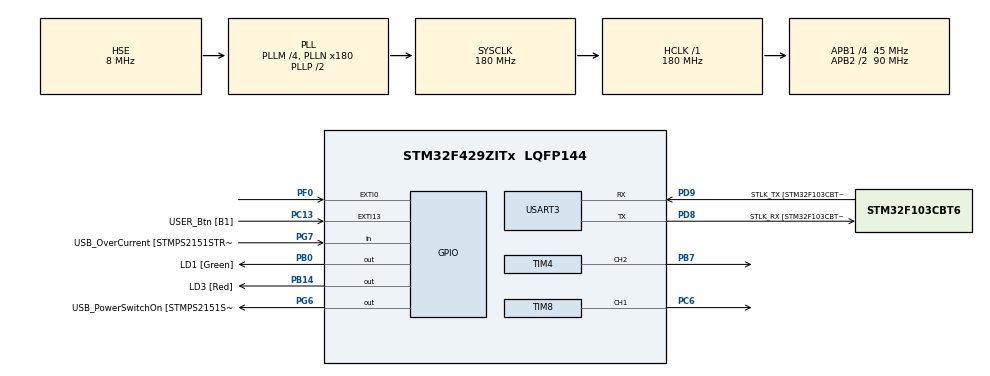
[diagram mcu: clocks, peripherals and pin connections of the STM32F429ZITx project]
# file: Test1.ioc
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Mcu.Family=STM32F4
Mcu.Name=STM32F429ZITx
Mcu.Package=LQFP144
NVIC.EXTI0_IRQn=true\:3\:0\:true\:false\:true\:true\:true
NVIC.PriorityGroup=NVIC_PRIORITYGROUP_4
NVIC.TIM8_CC_IRQn=true\:2\:0\:true\:false\:true\:true\:true
NVIC.TIM8_UP_TIM13_IRQn=true\:1\:0\:true\:false\:true\:true\:true
PA13.GPIO_Label=TMS
PA13.Mode=Serial_Wire
PA13.Signal=SYS_JTMS-SWDIO
PA14.GPIO_Label=TCK
PA14.Mode=Serial_Wire
PA14.Signal=SYS_JTCK-SWCLK
PB0.GPIO_Label=LD1 [Green]
PB0.Signal=GPIO_Output
PB14.GPIO_Label=LD3 [Red]
PB14.Signal=GPIO_Output
PB7.Signal=S_TIM4_CH2
PC13.GPIO_Label=USER_Btn [B1]
PC13.Signal=GPXTI13
PC6.Signal=S_TIM8_CH1
PD8.GPIO_Label=STLK_RX [STM32F103CBT6_PA3]
PD8.Mode=Asynchronous
PD8.Signal=USART3_TX
PD9.GPIO_Label=STLK_TX [STM32F103CBT6_PA2]
PD9.Mode=Asynchronous
PD9.Signal=USART3_RX
PF0.GPIO_ModeDefaultEXTI=GPIO_MODE_IT_RISING_FALLING
PF0.Signal=GPXTI0
PG6.GPIO_Label=USB_PowerSwitchOn [STMPS2151STR_EN]
PG6.Signal=GPIO_Output
PG7.GPIO_Label=USB_OverCurrent [STMPS2151STR_FAULT]
PG7.Signal=GPIO_Input
PH0/OSC_IN.GPIO_Label=MCO [STM32F103CBT6_PA8]
PH0/OSC_IN.Mode=HSE-External-Clock-Source
PH0/OSC_IN.Signal=RCC_OSC_IN
PH1/OSC_OUT.Mode=HSE-External-Clock-Source
PH1/OSC_OUT.Signal=RCC_OSC_OUT
ProjectManager.HeapSize=0x200
ProjectManager.StackSize=0x400
ProjectManager.TargetToolchain=Makefile
RCC.48MHZClocksFreq_Value=90000000
RCC.AHBFreq_Value=180000000
RCC.APB1CLKDivider=RCC_HCLK_DIV4
RCC.APB1Freq_Value=45000000
RCC.APB1TimFreq_Value=90000000
RCC.APB2CLKDivider=RCC_HCLK_DIV2
RCC.APB2Freq_Value=90000000
RCC.APB2TimFreq_Value=180000000
RCC.CortexFreq_Value=180000000
RCC.HCLKFreq_Value=180000000
RCC.HSE_VALUE=8000000
RCC.HSI_VALUE=16000000
RCC.LSE_VALUE=32768
RCC.PLLM=4
RCC.PLLMUL=RCC_PLL_MUL9
RCC.PLLN=180
RCC.PLLSourceVirtual=RCC_PLLSOURCE_HSE
RCC.PRESCALERUSB=RCC_USBCLKSOURCE_PLL_DIV1_5
RCC.RCC_MCO1Source=RCC_MCO1SOURCE_HSE
RCC.RCC_MCODiv1=RCC_MCODIV_4
RCC.SYSCLKFreq_VALUE=180000000
RCC.SYSCLKSource=RCC_SYSCLKSOURCE_PLLCLK
RCC.SYSCLKSourceVirtual=RCC_SYSCLKSOURCE_PLLCLK
RCC.USBFreq_Value=48000000
RCC.VCOOutputFreq_Value=360000000
SH.S_TIM4_CH2.0=TIM4_CH2,PWM Generation2 CH2
SH.S_TIM8_CH1.0=TIM8_CH1,Output Compare1 CH1
TIM1.Period=179
TIM1.TIM_MasterOutputTrigger=TIM_TRGO_UPDATE
TIM1.TIM_MasterSlaveMode=TIM_MASTERSLAVEMODE_ENABLE
TIM4.Channel-PWM\ Generation2\ CH2=TIM_CHANNEL_2
TIM4.OCPolarity_2=TIM_OCPOLARITY_HIGH
TIM4.Period=9999
TIM4.Prescaler=8999
TIM4.Pulse-PWM\ Generation2\ CH2=2000
TIM8.Channel-Output\ Compare1\ CH1=TIM_CHANNEL_1
TIM8.OCMode_1=TIM_OCMODE_ACTIVE
TIM8.Period=9999
TIM8.Pulse-Output\ Compare1\ CH1=16383
TIM8.TIM_MasterSlaveMode=TIM_MASTERSLAVEMODE_ENABLE
USART3.VirtualMode=VM_ASYNC
VP_TIM1_VS_ClockSourceINT.Mode=Internal
VP_TIM8_VS_ClockSourceITR.Mode=TriggerSource_ITR0
VP_TIM8_VS_ControllerModeClock.Mode=Clock Mode
board=NUCLEO-F429ZI

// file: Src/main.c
/* USER CODE BEGIN Header */
/**
  ******************************************************************************
  * @file           : main.c
  * @brief          : Main program body
  ******************************************************************************
  * @attention
  *
  * <h2><center>&copy; Copyright (c) 2019 STMicroelectronics.
  * All rights reserved.</center></h2>
  *
  * This software component is licensed by ST under BSD 3-Clause license,
  * the "License"; You may not use this file except in compliance with the
  * License. You may obtain a copy of the License at:
  *                        opensource.org/licenses/BSD-3-Clause
  *
  ******************************************************************************
  */
/* USER CODE END Header */

#include "main.h"

/* USER CODE BEGIN Includes */

#include <stdio.h>
#include <stdbool.h>
#include <inttypes.h>
#include <stm32f4xx_ll_tim.h>
#include <stdlib.h>
#include <math.h>

/* USER CODE END Includes */

TIM_HandleTypeDef htim1;
TIM_HandleTypeDef htim4;
TIM_HandleTypeDef htim8;

UART_HandleTypeDef huart3;

void SystemClock_Config(void);
static void MX_GPIO_Init(void);
static void MX_USART3_UART_Init(void);
static void MX_GFXSIMULATOR_Init(void);
static void MX_TIM4_Init(void);
static void MX_TIM1_Init(void);
static void MX_TIM8_Init(void);

/* USER CODE BEGIN 0 */

//int fputc(int ch, FILE *f) {
int _write(int iFileHandle, char *pcBuffer, int iLength)
{
    HAL_UART_Transmit(&huart3, (uint8_t *)pcBuffer, iLength, 0xFFFF);
    return 0;
}

volatile uint64_t timer_high = 0;

volatile uint8_t tenMillisecondCycle = 0;
volatile int32_t biasBaseValue = 0;
volatile uint8_t biasTenths = 0;
volatile uint8_t biasHundredths = 0;

volatile uint32_t overflowInterruptTime = 0;
volatile uint32_t adjustInterruptTime = 0;
volatile uint32_t extiInterruptTime = 0;

void HAL_TIM_PeriodElapsedCallback(TIM_HandleTypeDef *htim)
{
  uint32_t startTime = DWT->CYCCNT;
  if (htim == &htim8) {
    timer_high += 10000;
    htim1.Instance->ARR = 179;
    tenMillisecondCycle = (tenMillisecondCycle + 1) % 100;

    int32_t adjustment = biasBaseValue;
    if (tenMillisecondCycle%10 < biasTenths)
        adjustment++;
    if (tenMillisecondCycle%10==9 && (tenMillisecondCycle/10) < biasHundredths)
        adjustment++;
    if (adjustment == 0) {
        htim8.Instance->CCR1 = 0xffff;
    } else {
        htim8.Instance->CCR1 = 9999-abs(adjustment);
    }

    //if (timer_high % 500000 == 0) {
    //    HAL_GPIO_TogglePin(GPIOB, LD1_Pin);
    //}
  }
  overflowInterruptTime = DWT->CYCCNT-startTime;
}

void HAL_TIM_OC_DelayElapsedCallback(TIM_HandleTypeDef *htim)
{
  uint32_t startTime = DWT->CYCCNT;
  if (htim == &htim8) {
    if (biasBaseValue < 0) {
      htim1.Instance->ARR = 178;
    } else {
      htim1.Instance->ARR = 180;
    }
  }
  adjustInterruptTime = DWT->CYCCNT-startTime;
}

uint64_t readTimeMicros() {
    uint64_t high1;
    uint64_t high2;
    uint32_t low;
    do {
        high1 = timer_high;
        low = LL_TIM_GetCounter(htim8.Instance);
        high2 = timer_high;
    } while (high1 != high2);
    uint64_t timeMicros = high1+low;
    return timeMicros;
}

volatile uint64_t recentPpsRisingEdgeTime = 0;

void HAL_GPIO_EXTI_Callback(uint16_t GPIO_Pin) {
    uint32_t startTime = DWT->CYCCNT;
    GPIO_PinState read = HAL_GPIO_ReadPin(GPIOF, GPIO_PIN_0);
    HAL_GPIO_WritePin(GPIOB, LD1_Pin, read);

    if (read == GPIO_PIN_SET) {
        recentPpsRisingEdgeTime = readTimeMicros();
    }
    extiInterruptTime = DWT->CYCCNT-startTime;
}

int32_t setBiasPpb(int32_t partsPerBillion)
{
  if (partsPerBillion > 500000) {
    partsPerBillion = 500000;
  } else if (partsPerBillion < -500000) {
    partsPerBillion = -500000;
  }

   int32_t cyclesPerSecond = (180*partsPerBillion)/1000;
   biasBaseValue = cyclesPerSecond/100;
   int32_t remainder = cyclesPerSecond-(100*biasBaseValue);
   if (remainder < 0) {
     biasBaseValue -= 1;
     remainder += 100;
   }
   biasTenths = remainder / 10;
   biasHundredths = remainder % 10;

   return (cyclesPerSecond*1000)/180;
}

int64_t lastErrorMicros = INT64_MAX;
int64_t errorIntegral = 0;
const double proportionalGain = 35.80;
const double integralGain = 0.300;
const double derivativeGain = 0.511;

void updateClockPID(uint64_t trueTimeMicros, uint64_t measuredTimeMicros) {
    int64_t errorMicros = measuredTimeMicros-trueTimeMicros;
    if (lastErrorMicros != INT64_MAX) {
        long derivativeTerm = errorMicros-lastErrorMicros;
        errorIntegral += errorMicros;

        double p = proportionalGain*errorMicros;
        double i = integralGain*errorIntegral;
        double d = derivativeGain*derivativeTerm;
        double pid = p+i+d;

        int32_t biasPpb = round(pid);
        setBiasPpb(biasPpb);

        printf("PID,%"PRId32",%f,%f,%f,%"PRId32"\r\n",
                (int32_t)errorMicros, p, i, d, biasPpb);
    }

    lastErrorMicros = errorMicros;
}

int32_t detectMissedPpsPulse(uint64_t ppsTimeMicros, uint64_t xtalTimeMicros) {
    int64_t offset = xtalTimeMicros-ppsTimeMicros;
    int32_t adjustment;
    if (offset > 500000) {
        // ppsTime is too low - return cycles to add.
        adjustment = (offset+500000)/1000000;
        printf("PPS pulse(s) missed? %"PRIu32",%06"PRIu32" vs %"PRIu32",%06"PRIu32" correcting by %"PRId32"s\r\n",
                (uint32_t)(ppsTimeMicros/1000000),
                (uint32_t)(ppsTimeMicros%1000000),
		(uint32_t)(xtalTimeMicros/1000000),
                (uint32_t)(xtalTimeMicros%1000000),
                adjustment);
    } else if (offset < -500000) {
        // ppsTime is too high?!
        adjustment = (offset-500000)/1000000;
        printf("PPS pulse early? %"PRIu32",%06"PRIu32" vs %"PRIu32",%06"PRIu32", correcting by %"PRId32"s\r\n",
                (uint32_t)(ppsTimeMicros/1000000),
                (uint32_t)(ppsTimeMicros%1000000),
		(uint32_t)(xtalTimeMicros/1000000),
                (uint32_t)(xtalTimeMicros%1000000),
                adjustment);
    } else {
        adjustment = 0;
    }
    return adjustment;
}

bool measurementLooksAcceptable(uint64_t lastPpsTimeMicros, uint64_t thisPpsTimeMicros) {
    if (lastPpsTimeMicros == 0)
        return true;

    int64_t fromPrevMicros = thisPpsTimeMicros-lastPpsTimeMicros;
    int64_t errorIgnoringSkippedCycles = ((fromPrevMicros+500000)%1000000)-500000;

    bool acceptable = (errorIgnoringSkippedCycles >= -10000) && (errorIgnoringSkippedCycles <= 10000);
    if (!acceptable) {
        printf("Rejecting measurement of %"PRIu32",%06"PRIu32"\r\n",
                (uint32_t)(thisPpsTimeMicros/1000000),
                (uint32_t)(thisPpsTimeMicros%1000000));
    }
    return acceptable;
}

/* USER CODE END 0 */

int main(void)
{

  /* MCU Configuration--------------------------------------------------------*/

  /* Reset of all peripherals, Initializes the Flash interface and the Systick. */
  HAL_Init();

  /* Configure the system clock */
  SystemClock_Config();

  /* Initialize all configured peripherals */
  MX_GPIO_Init();
  MX_USART3_UART_Init();
  MX_GFXSIMULATOR_Init();
  MX_TIM4_Init();
  MX_TIM1_Init();
  MX_TIM8_Init();
  /* USER CODE BEGIN 2 */

  CoreDebug->DEMCR |= CoreDebug_DEMCR_TRCENA_Msk;
  DWT->CYCCNT = 0;
  DWT->CTRL |= DWT_CTRL_CYCCNTENA_Msk;

  DBGMCU->APB1FZ |= (DBGMCU_APB1_FZ_DBG_TIM3_STOP);
  DBGMCU->APB2FZ |= (DBGMCU_APB2_FZ_DBG_TIM1_STOP | DBGMCU_APB2_FZ_DBG_TIM9_STOP | DBGMCU_APB2_FZ_DBG_TIM10_STOP);

  while (HAL_GPIO_ReadPin(GPIOF, GPIO_PIN_0) != GPIO_PIN_RESET) {}
  while (HAL_GPIO_ReadPin(GPIOF, GPIO_PIN_0) != GPIO_PIN_SET) {}

  HAL_TIM_Base_Start(&htim1);
  HAL_TIM_Base_Start_IT(&htim8);
  HAL_TIM_OC_Start_IT(&htim8, TIM_CHANNEL_1);
  //HAL_TIM_Base_Start(&htim9);
  HAL_TIM_Base_Start(&htim4);
  HAL_TIM_PWM_Start(&htim4, TIM_CHANNEL_2);

  HAL_GPIO_TogglePin(GPIOB, LD1_Pin);

  //setBiasPpb(-13139);

  uint64_t nextToggleMicros = 0;
  bool expectOverflow = false;
  uint64_t prevPpsRisingEdge = 0;
  uint64_t prevAcceptedPpsRisingEdge = 0;
  int32_t ppsCount = 0;

  /* USER CODE END 2 */

  /* Infinite loop */
  while (1)
  {

    /* USER CODE BEGIN 3 */
    uint64_t timeMicros = readTimeMicros();

    if (expectOverflow && timeMicros < nextToggleMicros)
        expectOverflow = false;

    if (!expectOverflow && (timeMicros >= nextToggleMicros)) {
        //HAL_GPIO_TogglePin(GPIOB, LD1_Pin);
        //HAL_GPIO_TogglePin(GPIOB, LD2_Pin);
        HAL_GPIO_TogglePin(GPIOB, LD3_Pin);

        //printf("Tick! %"PRIu32"\r\n", (uint32_t)timeMicros);
        nextToggleMicros += 500000;
        if (nextToggleMicros < timeMicros)
            expectOverflow = true;
    }

    uint64_t ppsRisingEdgeTime = recentPpsRisingEdgeTime;

    if (ppsRisingEdgeTime != prevPpsRisingEdge) {
        if (measurementLooksAcceptable(prevAcceptedPpsRisingEdge, ppsRisingEdgeTime)) {
            ppsCount++;
            ppsCount += detectMissedPpsPulse(ppsCount*(int64_t)1000000, ppsRisingEdgeTime);

            printf("PPS,%"PRIu32",%"PRIu32",%"PRIu32"\r\n",
                    ppsCount,
                    (uint32_t)(ppsRisingEdgeTime/1000000),
                    (uint32_t)(ppsRisingEdgeTime%1000000));

            printf("Interrupt Handler Times,%"PRIu32",%"PRIu32",%"PRIu32"\r\n",
                    overflowInterruptTime, adjustInterruptTime, extiInterruptTime);

            updateClockPID((ppsCount*(uint64_t)1000000)+1000, ppsRisingEdgeTime);
            prevAcceptedPpsRisingEdge = ppsRisingEdgeTime;
        }
        prevPpsRisingEdge = ppsRisingEdgeTime;
    }

  }
  /* USER CODE END 3 */
}

void SystemClock_Config(void)
{
  RCC_OscInitTypeDef RCC_OscInitStruct = {0};
  RCC_ClkInitTypeDef RCC_ClkInitStruct = {0};

  /** Configure the main internal regulator output voltage
  */
  __HAL_RCC_PWR_CLK_ENABLE();
  __HAL_PWR_VOLTAGESCALING_CONFIG(PWR_REGULATOR_VOLTAGE_SCALE1);
  /** Initializes the CPU, AHB and APB busses clocks
  */
  RCC_OscInitStruct.OscillatorType = RCC_OSCILLATORTYPE_HSE;
  RCC_OscInitStruct.HSEState = RCC_HSE_BYPASS;
  RCC_OscInitStruct.PLL.PLLState = RCC_PLL_ON;
  RCC_OscInitStruct.PLL.PLLSource = RCC_PLLSOURCE_HSE;
  RCC_OscInitStruct.PLL.PLLM = 4;
  RCC_OscInitStruct.PLL.PLLN = 180;
  RCC_OscInitStruct.PLL.PLLP = RCC_PLLP_DIV2;
  RCC_OscInitStruct.PLL.PLLQ = 4;
  if (HAL_RCC_OscConfig(&RCC_OscInitStruct) != HAL_OK)
  {
    Error_Handler();
  }
  /** Activate the Over-Drive mode
  */
  if (HAL_PWREx_EnableOverDrive() != HAL_OK)
  {
    Error_Handler();
  }
  /** Initializes the CPU, AHB and APB busses clocks
  */
  RCC_ClkInitStruct.ClockType = RCC_CLOCKTYPE_HCLK|RCC_CLOCKTYPE_SYSCLK
                              |RCC_CLOCKTYPE_PCLK1|RCC_CLOCKTYPE_PCLK2;
  RCC_ClkInitStruct.SYSCLKSource = RCC_SYSCLKSOURCE_PLLCLK;
  RCC_ClkInitStruct.AHBCLKDivider = RCC_SYSCLK_DIV1;
  RCC_ClkInitStruct.APB1CLKDivider = RCC_HCLK_DIV4;
  RCC_ClkInitStruct.APB2CLKDivider = RCC_HCLK_DIV2;

  if (HAL_RCC_ClockConfig(&RCC_ClkInitStruct, FLASH_LATENCY_5) != HAL_OK)
  {
    Error_Handler();
  }
}

static void MX_GFXSIMULATOR_Init(void)
{

}

static void MX_TIM1_Init(void)
{

  TIM_ClockConfigTypeDef sClockSourceConfig = {0};
  TIM_MasterConfigTypeDef sMasterConfig = {0};

  htim1.Instance = TIM1;
  htim1.Init.Prescaler = 0;
  htim1.Init.CounterMode = TIM_COUNTERMODE_UP;
  htim1.Init.Period = 179;
  htim1.Init.ClockDivision = TIM_CLOCKDIVISION_DIV1;
  htim1.Init.RepetitionCounter = 0;
  htim1.Init.AutoReloadPreload = TIM_AUTORELOAD_PRELOAD_DISABLE;
  if (HAL_TIM_Base_Init(&htim1) != HAL_OK)
  {
    Error_Handler();
  }
  sClockSourceConfig.ClockSource = TIM_CLOCKSOURCE_INTERNAL;
  if (HAL_TIM_ConfigClockSource(&htim1, &sClockSourceConfig) != HAL_OK)
  {
    Error_Handler();
  }
  sMasterConfig.MasterOutputTrigger = TIM_TRGO_UPDATE;
  sMasterConfig.MasterSlaveMode = TIM_MASTERSLAVEMODE_ENABLE;
  if (HAL_TIMEx_MasterConfigSynchronization(&htim1, &sMasterConfig) != HAL_OK)
  {
    Error_Handler();
  }

}

static void MX_TIM4_Init(void)
{

  TIM_MasterConfigTypeDef sMasterConfig = {0};
  TIM_OC_InitTypeDef sConfigOC = {0};

  htim4.Instance = TIM4;
  htim4.Init.Prescaler = 8999;
  htim4.Init.CounterMode = TIM_COUNTERMODE_UP;
  htim4.Init.Period = 9999;
  htim4.Init.ClockDivision = TIM_CLOCKDIVISION_DIV1;
  htim4.Init.AutoReloadPreload = TIM_AUTORELOAD_PRELOAD_DISABLE;
  if (HAL_TIM_PWM_Init(&htim4) != HAL_OK)
  {
    Error_Handler();
  }
  sMasterConfig.MasterOutputTrigger = TIM_TRGO_RESET;
  sMasterConfig.MasterSlaveMode = TIM_MASTERSLAVEMODE_DISABLE;
  if (HAL_TIMEx_MasterConfigSynchronization(&htim4, &sMasterConfig) != HAL_OK)
  {
    Error_Handler();
  }
  sConfigOC.OCMode = TIM_OCMODE_PWM1;
  sConfigOC.Pulse = 2000;
  sConfigOC.OCPolarity = TIM_OCPOLARITY_HIGH;
  sConfigOC.OCFastMode = TIM_OCFAST_DISABLE;
  if (HAL_TIM_PWM_ConfigChannel(&htim4, &sConfigOC, TIM_CHANNEL_2) != HAL_OK)
  {
    Error_Handler();
  }
  HAL_TIM_MspPostInit(&htim4);

}

static void MX_TIM8_Init(void)
{

  TIM_SlaveConfigTypeDef sSlaveConfig = {0};
  TIM_MasterConfigTypeDef sMasterConfig = {0};
  TIM_OC_InitTypeDef sConfigOC = {0};
  TIM_BreakDeadTimeConfigTypeDef sBreakDeadTimeConfig = {0};

  htim8.Instance = TIM8;
  htim8.Init.Prescaler = 0;
  htim8.Init.CounterMode = TIM_COUNTERMODE_UP;
  htim8.Init.Period = 9999;
  htim8.Init.ClockDivision = TIM_CLOCKDIVISION_DIV1;
  htim8.Init.RepetitionCounter = 0;
  htim8.Init.AutoReloadPreload = TIM_AUTORELOAD_PRELOAD_DISABLE;
  if (HAL_TIM_Base_Init(&htim8) != HAL_OK)
  {
    Error_Handler();
  }
  if (HAL_TIM_OC_Init(&htim8) != HAL_OK)
  {
    Error_Handler();
  }
  sSlaveConfig.SlaveMode = TIM_SLAVEMODE_EXTERNAL1;
  sSlaveConfig.InputTrigger = TIM_TS_ITR0;
  if (HAL_TIM_SlaveConfigSynchro(&htim8, &sSlaveConfig) != HAL_OK)
  {
    Error_Handler();
  }
  sMasterConfig.MasterOutputTrigger = TIM_TRGO_RESET;
  sMasterConfig.MasterSlaveMode = TIM_MASTERSLAVEMODE_ENABLE;
  if (HAL_TIMEx_MasterConfigSynchronization(&htim8, &sMasterConfig) != HAL_OK)
  {
    Error_Handler();
  }
  sConfigOC.OCMode = TIM_OCMODE_ACTIVE;
  sConfigOC.Pulse = 16383;
  sConfigOC.OCPolarity = TIM_OCPOLARITY_HIGH;
  sConfigOC.OCNPolarity = TIM_OCNPOLARITY_HIGH;
  sConfigOC.OCFastMode = TIM_OCFAST_DISABLE;
  sConfigOC.OCIdleState = TIM_OCIDLESTATE_RESET;
  sConfigOC.OCNIdleState = TIM_OCNIDLESTATE_RESET;
  if (HAL_TIM_OC_ConfigChannel(&htim8, &sConfigOC, TIM_CHANNEL_1) != HAL_OK)
  {
    Error_Handler();
  }
  sBreakDeadTimeConfig.OffStateRunMode = TIM_OSSR_DISABLE;
  sBreakDeadTimeConfig.OffStateIDLEMode = TIM_OSSI_DISABLE;
  sBreakDeadTimeConfig.LockLevel = TIM_LOCKLEVEL_OFF;
  sBreakDeadTimeConfig.DeadTime = 0;
  sBreakDeadTimeConfig.BreakState = TIM_BREAK_DISABLE;
  sBreakDeadTimeConfig.BreakPolarity = TIM_BREAKPOLARITY_HIGH;
  sBreakDeadTimeConfig.AutomaticOutput = TIM_AUTOMATICOUTPUT_DISABLE;
  if (HAL_TIMEx_ConfigBreakDeadTime(&htim8, &sBreakDeadTimeConfig) != HAL_OK)
  {
    Error_Handler();
  }
  HAL_TIM_MspPostInit(&htim8);

}

static void MX_USART3_UART_Init(void)
{

  huart3.Instance = USART3;
  huart3.Init.BaudRate = 115200;
  huart3.Init.WordLength = UART_WORDLENGTH_8B;
  huart3.Init.StopBits = UART_STOPBITS_1;
  huart3.Init.Parity = UART_PARITY_NONE;
  huart3.Init.Mode = UART_MODE_TX_RX;
  huart3.Init.HwFlowCtl = UART_HWCONTROL_NONE;
  huart3.Init.OverSampling = UART_OVERSAMPLING_16;
  if (HAL_UART_Init(&huart3) != HAL_OK)
  {
    Error_Handler();
  }

}

static void MX_GPIO_Init(void)
{
  GPIO_InitTypeDef GPIO_InitStruct = {0};

  /* GPIO Ports Clock Enable */
  __HAL_RCC_GPIOC_CLK_ENABLE();
  __HAL_RCC_GPIOF_CLK_ENABLE();
  __HAL_RCC_GPIOH_CLK_ENABLE();
  __HAL_RCC_GPIOB_CLK_ENABLE();
  __HAL_RCC_GPIOD_CLK_ENABLE();
  __HAL_RCC_GPIOG_CLK_ENABLE();
  __HAL_RCC_GPIOA_CLK_ENABLE();

  /*Configure GPIO pin Output Level */
  HAL_GPIO_WritePin(GPIOB, LD1_Pin|LD3_Pin, GPIO_PIN_RESET);

  /*Configure GPIO pin Output Level */
  HAL_GPIO_WritePin(USB_PowerSwitchOn_GPIO_Port, USB_PowerSwitchOn_Pin, GPIO_PIN_RESET);

  /*Configure GPIO pin : USER_Btn_Pin */
  GPIO_InitStruct.Pin = USER_Btn_Pin;
  GPIO_InitStruct.Mode = GPIO_MODE_IT_RISING;
  GPIO_InitStruct.Pull = GPIO_NOPULL;
  HAL_GPIO_Init(USER_Btn_GPIO_Port, &GPIO_InitStruct);

  /*Configure GPIO pin : PF0 */
  GPIO_InitStruct.Pin = GPIO_PIN_0;
  GPIO_InitStruct.Mode = GPIO_MODE_IT_RISING_FALLING;
  GPIO_InitStruct.Pull = GPIO_NOPULL;
  HAL_GPIO_Init(GPIOF, &GPIO_InitStruct);

  /*Configure GPIO pins : LD1_Pin LD3_Pin */
  GPIO_InitStruct.Pin = LD1_Pin|LD3_Pin;
  GPIO_InitStruct.Mode = GPIO_MODE_OUTPUT_PP;
  GPIO_InitStruct.Pull = GPIO_NOPULL;
  GPIO_InitStruct.Speed = GPIO_SPEED_FREQ_LOW;
  HAL_GPIO_Init(GPIOB, &GPIO_InitStruct);

  /*Configure GPIO pin : USB_PowerSwitchOn_Pin */
  GPIO_InitStruct.Pin = USB_PowerSwitchOn_Pin;
  GPIO_InitStruct.Mode = GPIO_MODE_OUTPUT_PP;
  GPIO_InitStruct.Pull = GPIO_NOPULL;
  GPIO_InitStruct.Speed = GPIO_SPEED_FREQ_LOW;
  HAL_GPIO_Init(USB_PowerSwitchOn_GPIO_Port, &GPIO_InitStruct);

  /*Configure GPIO pin : USB_OverCurrent_Pin */
  GPIO_InitStruct.Pin = USB_OverCurrent_Pin;
  GPIO_InitStruct.Mode = GPIO_MODE_INPUT;
  GPIO_InitStruct.Pull = GPIO_NOPULL;
  HAL_GPIO_Init(USB_OverCurrent_GPIO_Port, &GPIO_InitStruct);

  /* EXTI interrupt init*/
  HAL_NVIC_SetPriority(EXTI0_IRQn, 3, 0);
  HAL_NVIC_EnableIRQ(EXTI0_IRQn);

}

void Error_Handler(void)
{
}

/************************ (C) COPYRIGHT STMicroelectronics *****END OF FILE****/
